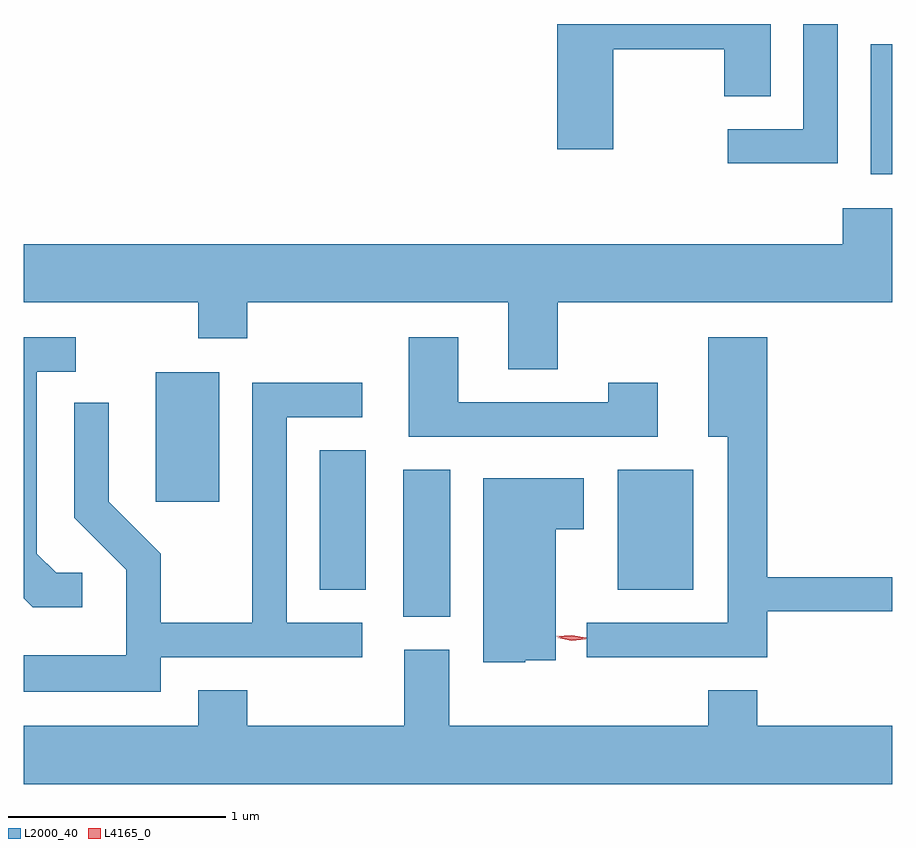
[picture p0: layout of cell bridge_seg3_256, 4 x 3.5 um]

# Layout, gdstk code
import gdstk
lib = gdstk.Library(unit=1e-6, precision=1e-09)
def R(c, l, rs):  # rectangles x0, y0, x1, y1
    for r in rs: c.add(gdstk.rectangle(r[:2], r[2:], *l))
def P(c, l, *ps):  # polygons
    for p in ps: c.add(gdstk.Polygon(p, *l))
L2000_40 = (2000, 40)
L4165_0 = (4165, 0)

bridge_seg3_256 = lib.new_cell('bridge_seg3_256')
R(bridge_seg3_256, L2000_40, [(1024.856,1137.886,1025.074,1138.564), (1024.471,1138.011,1024.684,1138.654), (1025.846,1138.011,1026.194,1138.564), (1023.716,1138.416,1024.009,1139.014), (1027.011,1139.926,1027.109,1140.524)])
P(bridge_seg3_256, L2000_40, [(1026.859,1140.618),(1026.701,1140.618),(1026.701,1140.134),(1026.353,1140.134),(1026.353,1139.976),(1026.859,1139.976)],
  [(1025.824,1140.501),(1026.336,1140.501),(1026.336,1140.286),(1026.549,1140.286),(1026.549,1140.618),(1025.566,1140.618),(1025.566,1140.041),(1025.824,1140.041)],
  [(1023.109,1139.336),(1023.911,1139.336),(1023.911,1139.171),(1024.139,1139.171),(1024.139,1139.336),(1025.341,1139.336),(1025.341,1139.026),(1025.569,1139.026),(1025.569,1139.336),(1027.109,1139.336),(1027.109,1139.769),(1026.881,1139.769),(1026.881,1139.604),(1023.109,1139.604)],
  [(1026.534,1137.911),(1027.109,1137.911),(1027.109,1138.069),(1026.534,1138.069),(1026.534,1139.174),(1026.261,1139.174),(1026.261,1138.716),(1026.351,1138.716),(1026.351,1137.859),(1025.703,1137.859),(1025.703,1137.701),(1026.534,1137.701)],
  [(1023.378,1138.089),(1023.257,1138.089),(1023.169,1138.177),(1023.169,1139.016),(1023.348,1139.016),(1023.348,1139.174),(1023.109,1139.174),(1023.109,1137.971),(1023.149,1137.931),(1023.378,1137.931)],
  [(1026.029,1138.964),(1025.801,1138.964),(1025.801,1138.874),(1025.109,1138.874),(1025.109,1139.174),(1024.881,1139.174),(1024.881,1138.716),(1026.029,1138.716)],
  [(1023.739,1137.701),(1024.668,1137.701),(1024.668,1137.859),(1024.319,1137.859),(1024.319,1138.806),(1024.668,1138.806),(1024.668,1138.964),(1024.161,1138.964),(1024.161,1137.859),(1023.739,1137.859),(1023.739,1138.177),(1023.499,1138.417),(1023.499,1138.873),(1023.341,1138.873),(1023.341,1138.344),(1023.581,1138.104),(1023.581,1137.709),(1023.109,1137.709),(1023.109,1137.541),(1023.739,1137.541)],
  [(1025.42,1137.686),(1025.559,1137.686),(1025.559,1138.291),(1025.689,1138.291),(1025.689,1138.524),(1025.226,1138.524),(1025.226,1137.676),(1025.42,1137.676)],
  [(1027.109,1137.384),(1026.489,1137.384),(1026.489,1137.549),(1026.261,1137.549),(1026.261,1137.384),(1025.069,1137.384),(1025.069,1137.734),(1024.861,1137.734),(1024.861,1137.384),(1024.139,1137.384),(1024.139,1137.549),(1023.911,1137.549),(1023.911,1137.384),(1023.109,1137.384),(1023.109,1137.116),(1027.109,1137.116)])
P(bridge_seg3_256, L4165_0, [(1025.632,1137.777),(1025.568,1137.79),(1025.568,1137.79),(1025.568,1137.79),(1025.632,1137.797),(1025.696,1137.784),(1025.697,1137.784),(1025.696,1137.783)],
  [(1025.631,1137.783),(1025.564,1137.796),(1025.564,1137.796),(1025.564,1137.797),(1025.633,1137.802),(1025.7,1137.789),(1025.7,1137.789),(1025.7,1137.788)])

lib.write_gds('bridge_seg3_256.gds')
